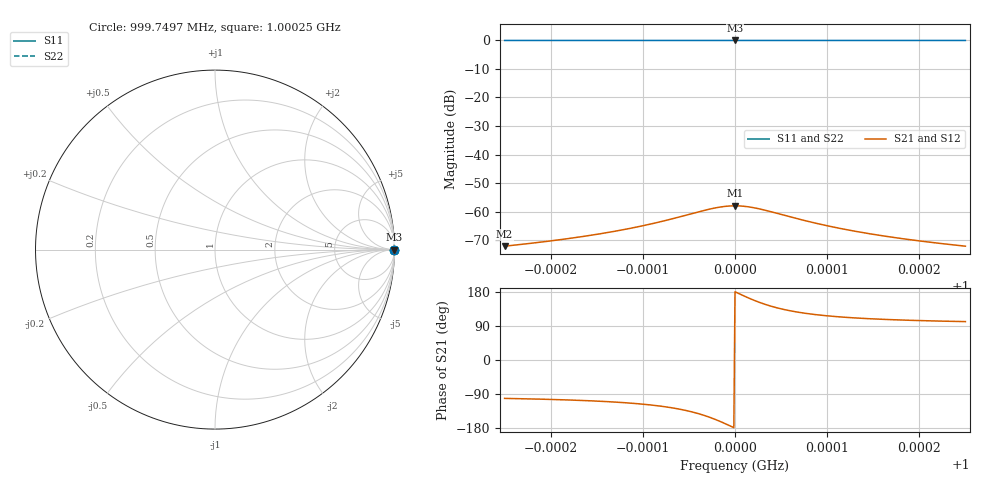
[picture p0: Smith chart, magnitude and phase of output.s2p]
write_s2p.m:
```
% Generate S-parameters
    b1=1.5; b2=0.2; Q0=10000; f0=1e9; n=401; rel_span=5;
    [S11,S12,S21,S22,f] = res_s_par(b1,b2,Q0,f0,n,rel_span);

% File name
filename = 'output.s2p';

% Open file for writing
fid = fopen(filename, 'w');
if fid == -1
    error('Cannot open file for writing.');
end

% Write Touchstone header
fprintf(fid, '! Touchstone file generated by MATLAB\n');
fprintf(fid, '! b1 = %.6f\n', b1);
fprintf(fid, '! b2 = %.6f\n', b2);
fprintf(fid, '! Q0 = %.6f\n', Q0);
fprintf(fid, '! f0 = %.6f\n', f0);
fprintf(fid, '! n = %d\n', n);
fprintf(fid, '! rel_span = %.6f\n', rel_span);
fprintf(fid, '# Hz S RI R 50\n');

% Loop through each frequency point and write S-parameters
for k = 1:length(f)
    fprintf(fid, '%.20e ', f(k));  % frequency
    fprintf(fid, '%.20e %.20e ', real(S11(k)), imag(S11(k)));
    fprintf(fid, '%.20e %.20e ', real(S21(k)), imag(S21(k)));
    fprintf(fid, '%.20e %.20e ', real(S12(k)), imag(S12(k)));
    fprintf(fid, '%.20e %.20e\n', real(S22(k)), imag(S22(k)));
end

% Close the file
fclose(fid);

disp(['S2P file written to ', filename]);
```
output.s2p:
! Touchstone file generated by MATLAB
! b1 = 0.000631
! b2 = 0.000631
! Q0 = 10000.000000
! f0 = 1000000000.000000
! n = 401
! rel_span = 5.000000
# Hz S RI R 50
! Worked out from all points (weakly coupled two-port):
!   401 points, 999.7497 MHz to 1.00025 GHz, reference 50 ohm
!   highest |S21| = -57.99 dB at 1 GHz (marker M1); lowest = -72.1 dB at 999.7497 MHz (marker M2)
!   lowest |S11| = 0.0 dB at 1 GHz (marker M3)
!   |S11| at or under -10 dB: nowhere
!   |S22| runs from 0.0 to 0.0 dB; largest |S21 - S12| = 0
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9.9974968e8  1 -0.000242  -4.85e-05 -0.000242  -4.85e-05 -0.000242  1 -0.000242
9.9981101e8  0.9999 -0.000312  -8.26e-05 -0.000312  -8.26e-05 -0.000312  0.9999 -0.000312
9.9986483e8  0.9998 -0.00041  -0.000152 -0.00041  -0.000152 -0.00041  0.9998 -0.00041
9.9991239e8  0.9997 -0.000543  -0.00031 -0.000543  -0.00031 -0.000543  0.9997 -0.000543
9.9997622e8  0.999 -0.000488  -0.00103 -0.000488  -0.00103 -0.000488  0.999 -0.000488
1e9  0.9987 0  -0.00126 0  -0.00126 0  0.9987 0
1.0000238e9  0.999 0.000488  -0.00103 0.000488  -0.00103 0.000488  0.999 0.000488
1.0000876e9  0.9997 0.000543  -0.00031 0.000543  -0.00031 0.000543  0.9997 0.000543
1.0001352e9  0.9998 0.000411  -0.000152 0.000411  -0.000152 0.000411  0.9998 0.000411
1.000189e9  0.9999 0.000312  -8.27e-05 0.000312  -8.27e-05 0.000312  0.9999 0.000312
1.0002503e9  1 0.000242  -4.85e-05 0.000242  -4.85e-05 0.000242  1 0.000242
